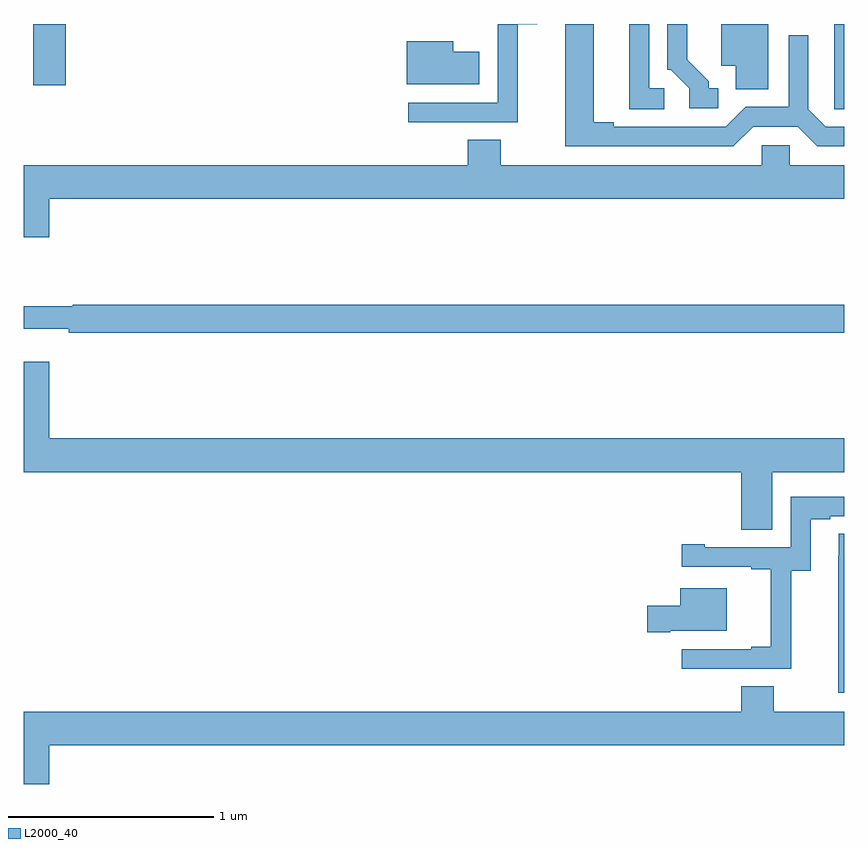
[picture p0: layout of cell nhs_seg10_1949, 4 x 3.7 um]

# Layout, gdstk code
import gdstk
lib = gdstk.Library(unit=1e-6, precision=1e-09)
def R(c, l, rs):  # rectangles x0, y0, x1, y1
    for r in rs: c.add(gdstk.rectangle(r[:2], r[2:], *l))
def P(c, l, *ps):  # polygons
    for p in ps: c.add(gdstk.Polygon(p, *l))
L2000_40 = (2000, 40)

nhs_seg10_1949 = lib.new_cell('nhs_seg10_1949')
R(nhs_seg10_1949, L2000_40, [(213.046,1302.201,213.206,1302.5)])
P(nhs_seg10_1949, L2000_40, [(217,1302.5),(216.95,1302.5),(216.95,1302.193),(216.951,1302.193),(216.951,1302.085),(217,1302.085)],
  [(216.121,1302.186),(216.048,1302.186),(216.048,1302.5),(215.951,1302.5),(215.951,1302.085),(216.121,1302.085)],
  [(215.409,1302.499),(215.503,1302.499),(215.503,1302.5),(215.31,1302.5),(215.31,1302.117),(214.875,1302.117),(214.875,1302.021),(215.409,1302.021)],
  [(216.555,1302),(216.773,1302),(216.869,1301.904),(217,1301.904),(217,1302),(216.909,1302),(216.825,1302.084),(216.825,1302.445),(216.729,1302.445),(216.729,1302.096),(216.519,1302.096),(216.423,1302),(215.875,1302),(215.875,1302.02),(215.779,1302.02),(215.779,1302.5),(215.639,1302.5),(215.639,1301.904),(216.459,1301.904)],
  [(216.385,1302.186),(216.34,1302.186),(216.34,1302.221),(216.235,1302.326),(216.235,1302.5),(216.138,1302.5),(216.138,1302.276),(216.153,1302.276),(216.243,1302.186),(216.243,1302.09),(216.385,1302.09)],
  [(216.628,1302.5),(216.401,1302.5),(216.401,1302.296),(216.47,1302.296),(216.47,1302.181),(216.628,1302.181)],
  [(215.221,1302.364),(215.095,1302.364),(215.095,1302.415),(214.868,1302.415),(214.868,1302.206),(215.221,1302.206)],
  [(213.124,1301.648),(217,1301.648),(217,1301.812),(216.735,1301.812),(216.735,1301.91),(216.597,1301.91),(216.597,1301.812),(215.325,1301.812),(215.325,1301.936),(215.165,1301.936),(215.165,1301.812),(213,1301.812),(213,1301.46),(213.124,1301.46)],
  [(217,1301.132),(213.239,1301.132),(213.239,1301.125),(213,1301.125),(213,1301.015),(213.22,1301.015),(213.22,1300.996),(217,1300.996)],
  [(216.649,1300.316),(217,1300.316),(217,1300.48),(213.124,1300.48),(213.124,1300.855),(213,1300.855),(213,1300.316),(216.497,1300.316),(216.497,1300.036),(216.649,1300.036)],
  [(216.741,1299.835),(216.835,1299.835),(216.835,1300.086),(216.931,1300.086),(216.931,1300.101),(217,1300.101),(217,1300.197),(216.738,1300.197),(216.738,1299.951),(216.319,1299.951),(216.319,1299.964),(216.207,1299.964),(216.207,1299.855),(216.545,1299.855),(216.545,1299.843),(216.641,1299.843),(216.641,1299.466),(216.545,1299.466),(216.545,1299.453),(216.207,1299.453),(216.207,1299.357),(216.741,1299.357)],
  [(217,1300.016),(216.972,1300.016),(216.972,1299.908),(216.971,1299.908),(216.971,1299.24),(217,1299.24)],
  [(216.151,1299.542),(216.427,1299.542),(216.427,1299.751),(216.2,1299.751),(216.2,1299.664),(216.039,1299.664),(216.039,1299.535),(216.151,1299.535)],
  [(216.497,1299.272),(216.497,1299.148),(213,1299.148),(213,1298.796),(213.124,1298.796),(213.124,1298.984),(217,1298.984),(217,1299.148),(216.657,1299.148),(216.657,1299.272)])

lib.write_gds('nhs_seg10_1949.gds')
